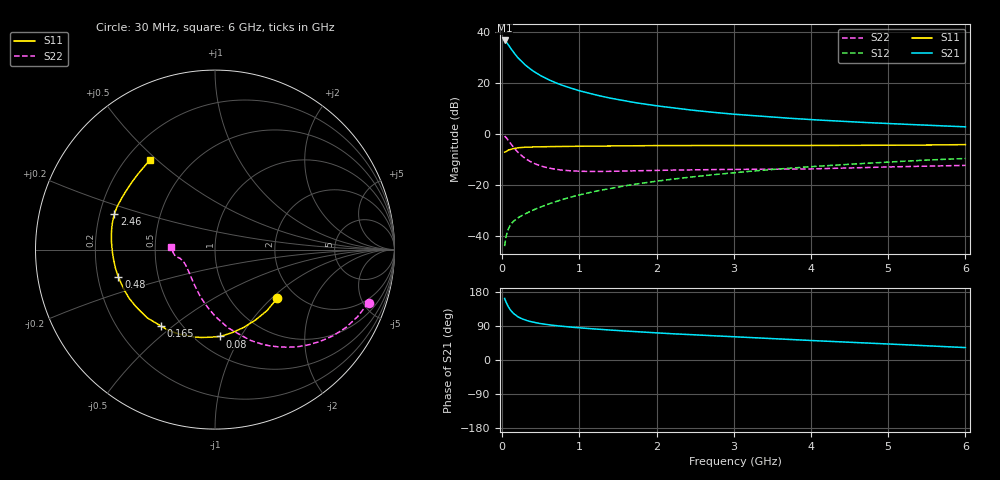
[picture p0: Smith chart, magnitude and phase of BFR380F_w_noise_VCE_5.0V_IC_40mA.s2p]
! Infineon Technologies  Discrete & RF Semiconductors
! BFR380F
! VCE =  5.0 V,  IC =  40 mA
! Common Emitter S-Parameters:  Nov 2015
# GHz  S  MA  R  50
!  f  S11  S21  S12  S22
! GHz  MAG  ANG  MAG  ANG  MAG  ANG  MAG  ANG
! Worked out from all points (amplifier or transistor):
!   206 points, 30 MHz to 6 GHz, reference 50 ohm
!   highest |S21| = 36.5 dB at 30 MHz (marker M1)
!   |S21| within 3 dB of that: start of sweep to 107.6 MHz
!   unconditionally stable (mu >= 1): 1.008 GHz to 4.922 GHz
!   at 200 MHz: K = 0.54, MSG = 31.4 dB, |S12| = -32.9 dB
!   at 1.56 GHz: K = 1.03, MAG = 15.7 dB, |S12| = -20.4 dB
!   at 6 GHz: K = 0.99, MSG = 6.2 dB, |S12| = -9.6 dB
!   lowest NFmin = 1.37 dB at 900 MHz
!   S11 on the Smith chart (normalised r, x): 30 MHz: 1.61, -1.09; 80 MHz: 0.65, -0.82; 165 MHz: 0.39, -0.45; 480 MHz: 0.29, -0.13; 2.46 GHz: 0.26, +0.16; 6 GHz: 0.29, +0.48
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0.03  0.4405 -38.1  67 162.5  0.0064 77.5  0.9051 -19.1
0.05  0.4528 -60.2  62.71 152.1  0.0101 71.9  0.8488 -30.8
0.07  0.4728 -78.7  57.21 143.5  0.0128 65.6  0.7779 -41.1
0.08  0.4846 -86.5  54.55 140.0  0.0141 63.2  0.7425 -45.7
0.1  0.4957 -99.0  49.24 133.5  0.0162 60.4  0.6748 -53.7
0.12  0.5045 -109.2  44.56 128.2  0.0178 57.9  0.6139 -60.7
0.15  0.5195 -121.0  38.65 121.8  0.0199 55.7  0.5372 -69.3
0.165  0.5212 -125.2  36.31 119.9  0.0207 55.4  0.5067 -72.2
0.2  0.5355 -134.6  31.08 114.2  0.0227 54.9  0.4419 -80.5
0.26  0.5439 -145.1  25.11 108.4  0.0257 55.6  0.3663 -90.5
0.3  0.5499 -150.4  22.03 105.1  0.0276 56.5  0.3292 -96.4
0.4  0.5551 -159.2  16.91 99.7  0.0325 59.2  0.2704 -108.1
0.48  0.5593 -164.1  14.26 96.6  0.0365 61.3  0.2418 -115.5
0.7  0.5668 -172.9  9.873 90.5  0.048 65.4  0.2026 -131.4
1.04  0.5744 178.9  6.709 84.3  0.0664 68.5  0.1857 -146.3
1.4  0.5815 172.8  4.999 79.0  0.0862 69.7  0.1858 -155.4
2.02  0.5911 165.1  3.509 71.4  0.1204 69.5  0.1936 -162.2
2.46  0.5946 160.4  2.912 66.6  0.1444 68.5  0.1985 -165.1
3.1  0.5944 154.4  2.365 60.2  0.1796 66.7  0.2027 -166.7
4.1  0.5941 144.6  1.865 50.5  0.2343 62.5  0.2086 -167.4
5.1  0.6013 135.4  1.57 41.3  0.2869 57.8  0.2278 -172.8
6  0.618 125.8  1.375 32.8  0.3312 52.6  0.243 176.6
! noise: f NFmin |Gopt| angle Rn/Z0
0.45  1.41  0.36  -176  0.08
0.9  1.37  0.39  -176  0.07
1.8  1.57  0.44  -164  0.08
1.9  1.66  0.45  -165  0.08
2.4  1.71  0.46  -156  0.11
3.5  2.31  0.51  -144  0.17
